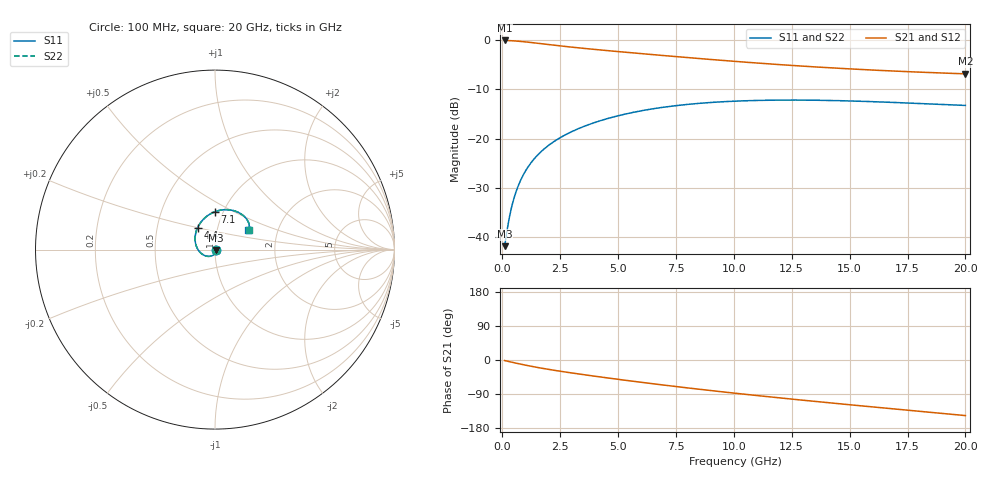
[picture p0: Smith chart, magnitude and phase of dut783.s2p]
! Touchstone file exported from HFSS 2024.1.0
!  File:  C:/UserFiles/LocalFiles/RDL_TSV_Batchsim/temp_RDL_TSV_783_1779906207.aedt
!  Generated:  02:36:13 AM May 28, 2026
!  Design:  RDL_TSV
!  Project:  temp_RDL_TSV_783_1779906207
!  Setup:  Setup1
!  Solution:  Sweep
! Variables:
!  dtsv = 13.31um
!  hbump = 3um
!  htsv = 63.7um
!  ldown = 504.72um
!  lrdl = 143.45um
!  p = 40
!  p1 = 49.52um
!  rhole = 10um
!  subl = 2087.96um
!  t = 450um
!  tdown = 4.25um
!  trdl = 4.86um
!  viad = 10um
!  wdown = 28.46um
!  wrdl = 28.15um
!  xbump = 18um
# GHz S MA R 50.000000
! Terminal data exported
! Port[1] = TM1_1_T1
! Port[2] = TM1_4_T1
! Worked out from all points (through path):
!   200 points, 100 MHz to 20 GHz, reference 50 ohm
!   highest |S21| = -0.06 dB at 100 MHz (marker M1); lowest = -6.8 dB at 20 GHz (marker M2)
!   group delay of S21, straight-line fit = 19.2 ps
!   lowest |S11| = -41.8 dB at 100 MHz (marker M3), VSWR 1.02, Z = 50.7 - j0.481 ohm
!   |S11| at or under -10 dB: start of sweep to end of sweep
!   |S22| runs from -41.8 to -12.2 dB; largest |S21 - S12| = 1.2e-14
!   S11 on the Smith chart (normalised r, x): 100 MHz: 1.01, -0.01; 4.4 GHz: 0.80, +0.20; 7.1 GHz: 0.91, +0.40; 20 GHz: 1.41, +0.33
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0.1  0.008102 -35.9  0.9926 -1.5  0.9926 -1.5  0.008102 -35.9
! Gamma 0 0 0 0
! Port Impedance 50 0 50 0
0.2  0.01149 -59.4  0.9909 -2.9  0.9909 -2.9  0.01149 -59.4
0.3  0.01567 -74.8  0.9886 -4.3  0.9886 -4.3  0.01567 -74.8
0.4  0.02012 -86.0  0.9858 -5.7  0.9858 -5.7  0.02012 -86.0
0.5  0.02466 -95.0  0.9826 -7.1  0.9826 -7.1  0.02466 -95.0
0.6  0.0292 -102.7  0.9789 -8.4  0.9789 -8.4  0.0292 -102.7
0.8  0.03816 -115.9  0.9702 -11.1  0.9702 -11.1  0.03816 -115.9
1.1  0.05109 -132.4  0.9546 -14.8  0.9546 -14.8  0.05109 -132.4
1.5  0.06717 -151.0  0.9314 -19.5  0.9314 -19.5  0.06718 -151.0
2.1  0.08899 -174.2  0.8962 -25.8  0.8962 -25.8  0.08901 -174.2
2.7  0.1087 166.9  0.8638 -31.5  0.8638 -31.5  0.1087 166.8
3.5  0.1324 146.4  0.8257 -38.6  0.8257 -38.6  0.1325 146.4
4.4  0.1563 128.1  0.7883 -46.1  0.7883 -46.1  0.1564 128.1
5.6  0.1838 108.9  0.7436 -55.8  0.7436 -55.8  0.1839 108.9
6.8  0.2059 93.7  0.7028 -64.9  0.7028 -64.9  0.2061 93.7
7.1  0.2106 90.4  0.6931 -67.1  0.6931 -67.1  0.2108 90.4
8.5  0.2282 76.8  0.6505 -77.2  0.6505 -77.2  0.2284 76.8
10.1  0.2405 64.4  0.6073 -88.0  0.6073 -88.0  0.2408 64.4
11.7  0.2459 54.5  0.5701 -98.2  0.5701 -98.2  0.2462 54.5
13.4  0.2457 46.2  0.5368 -108.6  0.5368 -108.6  0.2461 46.1
16.7  0.2341 35.4  0.488 -127.9  0.488 -127.9  0.2346 35.3
20  0.2174 30.9  0.455 -146.7  0.455 -146.7  0.2179 30.8
